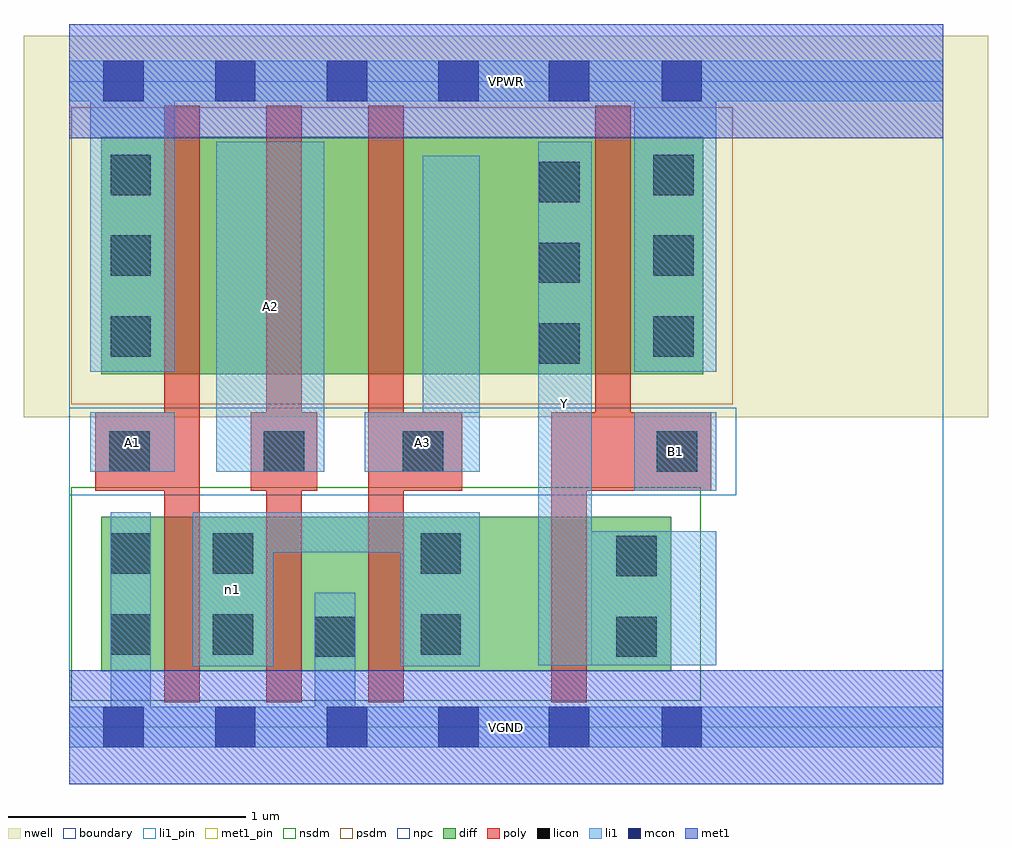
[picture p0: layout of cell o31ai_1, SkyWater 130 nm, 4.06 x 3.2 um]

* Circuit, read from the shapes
.subckt o31ai_1 A1 A2 A3 B1 VGND VPWR Y n1
XM1 n1 A1 VGND VSUBS sky130_fd_pr__nfet_01v8 w=0.65 l=0.15
XM2 VGND A2 n1 VSUBS sky130_fd_pr__nfet_01v8 w=0.65 l=0.15
XM3 n1 A3 VGND VSUBS sky130_fd_pr__nfet_01v8 w=0.65 l=0.15
XM4 Y B1 n1 VSUBS sky130_fd_pr__nfet_01v8 w=0.65 l=0.15
XM5 n2 A1 VPWR n3 sky130_fd_pr__pfet_01v8 w=1 l=0.15
XM6 n4 A2 n2 n3 sky130_fd_pr__pfet_01v8 w=1 l=0.15
XM7 Y A3 n4 n3 sky130_fd_pr__pfet_01v8 w=1 l=0.15
XM8 VPWR B1 Y n3 sky130_fd_pr__pfet_01v8 w=1 l=0.15
.ends

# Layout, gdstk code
import gdstk
lib = gdstk.Library(unit=1e-6, precision=1e-09)
def R(c, l, rs):  # rectangles x0, y0, x1, y1
    for r in rs: c.add(gdstk.rectangle(r[:2], r[2:], *l))
def A(c, l, x, y, w, h, nx, ny, dx, dy):  # array of equal rectangles
    R(c, l, [(x+i*dx, y+j*dy, x+i*dx+w, y+j*dy+h) for i in range(nx) for j in range(ny)])
nwell = (64, 20)
diff = (65, 20)
poly = (66, 20)
licon = (66, 44)
li1_pin = (67, 16)
li1 = (67, 20)
mcon = (67, 44)
met1_pin = (68, 16)
met1 = (68, 20)
nsdm = (93, 44)
psdm = (94, 20)
npc = (95, 20)
boundary = (235, 4)

o31ai_1 = lib.new_cell('o31ai_1')
R(o31ai_1, nwell, [(-0.19,1.305,3.87,2.91), (0,1.305,3.68,2.91)])
R(o31ai_1, diff, [(0.135,0.235,2.535,0.885), (0.135,1.485,2.67,2.485)])
A(o31ai_1, poly, 0.4, 0.105, 0.15, 2.51, 3, 1, 0.43, 0)
R(o31ai_1, poly, [(2.03,0.105,2.18,1.325), (0.11,0.995,0.55,1.325), (0.765,0.995,1.045,1.325), (1.26,0.995,1.655,1.325), (2.03,0.995,2.705,1.325), (2.215,0.995,2.365,2.615)])
A(o31ai_1, licon, 1.98, 1.53, 0.17, 0.17, 1, 3, 0, 0.34)
A(o31ai_1, licon, 0.175, 1.56, 0.17, 0.17, 1, 3, 0, 0.34)
A(o31ai_1, licon, 2.46, 1.56, 0.17, 0.17, 1, 3, 0, 0.34)
R(o31ai_1, licon, [(1.035,0.295,1.205,0.465), (2.305,0.295,2.475,0.465), (0.175,0.305,0.345,0.475), (0.605,0.305,0.775,0.475), (1.48,0.305,1.65,0.475), (2.305,0.635,2.475,0.805), (0.175,0.645,0.345,0.815), (0.605,0.645,0.775,0.815), (1.48,0.645,1.65,0.815), (0.17,1.075,0.34,1.245), (0.82,1.075,0.99,1.245), (1.405,1.075,1.575,1.245), (2.475,1.075,2.645,1.245)])
R(o31ai_1, li1_pin, [(1.975,0.26,2.2,2.465), (2.38,0.995,2.725,1.325), (0.09,1.075,0.445,1.325), (0.62,1.075,1.075,2.465), (1.245,1.075,1.73,1.325)])
R(o31ai_1, li1, [(0,-0.085,3.68,0.085), (0.175,-0.085,0.345,0.905), (1.035,-0.085,1.205,0.565), (0.52,0.255,0.86,0.905), (1.395,0.255,1.73,0.905), (1.975,0.26,2.2,2.465), (1.975,0.26,2.725,0.825), (0.52,0.735,1.73,0.905), (2.38,0.995,2.725,1.325), (0.09,1.075,0.445,1.325), (0.62,1.075,1.075,2.465), (1.245,1.075,1.73,1.325), (1.49,1.075,1.73,2.405), (0.09,1.495,0.445,2.805), (2.38,1.495,2.725,2.805), (0,2.635,3.68,2.805)])
A(o31ai_1, mcon, 0.145, -0.085, 0.17, 0.17, 4, 2, 0.47, 2.72)
R(o31ai_1, mcon, [(2.02,-0.085,2.19,0.085), (2.495,-0.085,2.665,0.085), (2.02,2.635,2.19,2.805), (2.495,2.635,2.665,2.805)])
R(o31ai_1, met1_pin, [(0,-0.24,3.68,0.24), (0,2.48,3.68,2.96)])
R(o31ai_1, met1, [(0,-0.24,3.68,0.24), (0,2.48,3.68,2.96)])
R(o31ai_1, nsdm, [(0.01,0.11,2.66,1.01)])
R(o31ai_1, psdm, [(0.01,1.36,2.795,2.61)])
R(o31ai_1, npc, [(0,0.975,2.81,1.345)])
R(o31ai_1, boundary, [(0,0,3.68,2.72)])
o31ai_1.add(gdstk.Label('A1', (0.267,1.2), layer=67, texttype=5))
o31ai_1.add(gdstk.Label('A2', (0.847,1.77), layer=67, texttype=5))
o31ai_1.add(gdstk.Label('A3', (1.487,1.2), layer=67, texttype=5))
o31ai_1.add(gdstk.Label('B1', (2.552,1.16), layer=67, texttype=5))
o31ai_1.add(gdstk.Label('Y', (2.087,1.362), layer=67, texttype=5))
o31ai_1.add(gdstk.Label('n1', (0.69,0.58), layer=67, texttype=5))
o31ai_1.add(gdstk.Label('VPWR', (1.84,2.72), layer=68, texttype=5))
o31ai_1.add(gdstk.Label('VGND', (1.84,0), layer=68, texttype=5))
o31ai_1.add(gdstk.Label('A1', (0.267,1.2), layer=67, texttype=16))
o31ai_1.add(gdstk.Label('A2', (0.847,1.77), layer=67, texttype=16))
o31ai_1.add(gdstk.Label('A3', (1.487,1.2), layer=67, texttype=16))
o31ai_1.add(gdstk.Label('B1', (2.552,1.16), layer=67, texttype=16))
o31ai_1.add(gdstk.Label('Y', (2.087,1.362), layer=67, texttype=16))
o31ai_1.add(gdstk.Label('VPWR', (1.84,2.72), layer=68, texttype=16))
o31ai_1.add(gdstk.Label('VGND', (1.84,0), layer=68, texttype=16))

lib.write_gds('o31ai_1.gds')
